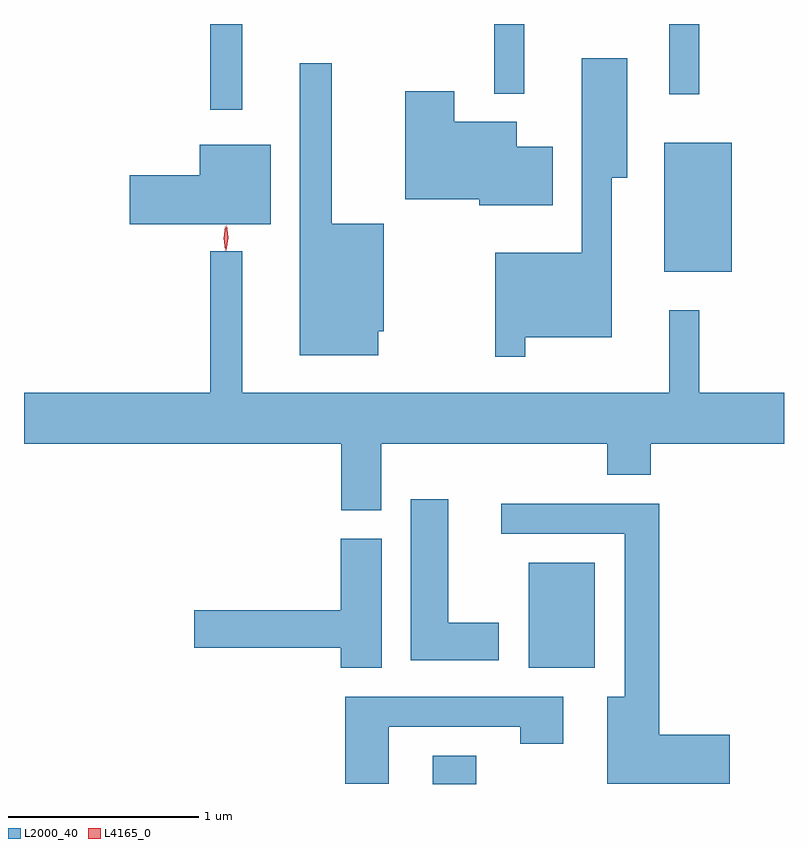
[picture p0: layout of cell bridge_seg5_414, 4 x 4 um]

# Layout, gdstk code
import gdstk
lib = gdstk.Library(unit=1e-6, precision=1e-09)
def R(c, l, rs):  # rectangles x0, y0, x1, y1
    for r in rs: c.add(gdstk.rectangle(r[:2], r[2:], *l))
def P(c, l, *ps):  # polygons
    for p in ps: c.add(gdstk.Polygon(p, *l))
L2000_40 = (2000, 40)
L4165_0 = (4165, 0)

bridge_seg5_414 = lib.new_cell('bridge_seg5_414')
R(bridge_seg5_414, L2000_40, [(207.271,1512.724,207.499,1512.874), (207.776,1513.336,208.124,1513.889), (208.491,1515.421,208.844,1516.099), (206.101,1516.273,206.269,1516.724), (208.516,1516.353,208.674,1516.724), (207.596,1516.358,207.754,1516.724)])
P(bridge_seg5_414, L2000_40, [(207.759,1515.076),(208.214,1515.076),(208.214,1515.916),(208.294,1515.916),(208.294,1516.544),(208.056,1516.544),(208.056,1515.519),(207.601,1515.519),(207.601,1514.973),(207.759,1514.973)],
  [(206.984,1515.106),(207.014,1515.106),(207.014,1515.674),(206.739,1515.674),(206.739,1516.518),(206.571,1516.518),(206.571,1514.981),(206.984,1514.981)],
  [(207.904,1516.079),(207.714,1516.079),(207.714,1516.209),(207.384,1516.209),(207.384,1516.369),(207.126,1516.369),(207.126,1515.801),(207.516,1515.801),(207.516,1515.771),(207.904,1515.771)],
  [(206.419,1516.089),(206.046,1516.089),(206.046,1515.929),(205.676,1515.929),(205.676,1515.671),(206.419,1515.671)],
  [(206.999,1514.516),(208.191,1514.516),(208.191,1514.351),(208.419,1514.351),(208.419,1514.516),(209.12,1514.516),(209.12,1514.784),(208.674,1514.784),(208.674,1515.218),(208.516,1515.218),(208.516,1514.784),(206.269,1514.784),(206.269,1515.528),(206.101,1515.528),(206.101,1514.784),(205.12,1514.784),(205.12,1514.516),(206.791,1514.516),(206.791,1514.166),(206.999,1514.166)],
  [(207.619,1513.574),(207.354,1513.574),(207.354,1514.224),(207.156,1514.224),(207.156,1513.376),(207.619,1513.376)],
  [(208.834,1512.984),(208.464,1512.984),(208.464,1514.199),(207.633,1514.199),(207.633,1514.041),(208.281,1514.041),(208.281,1513.184),(208.191,1513.184),(208.191,1512.726),(208.834,1512.726)],
  [(207.004,1514.014),(206.786,1514.014),(206.786,1513.639),(206.016,1513.639),(206.016,1513.441),(206.786,1513.441),(206.786,1513.336),(207.004,1513.336)],
  [(207.039,1513.026),(207.731,1513.026),(207.731,1512.936),(207.959,1512.936),(207.959,1513.184),(206.811,1513.184),(206.811,1512.726),(207.039,1512.726)])
P(bridge_seg5_414, L4165_0, [(206.179,1515.533),(206.17,1515.596),(206.179,1515.659),(206.179,1515.66),(206.18,1515.659),(206.19,1515.596),(206.18,1515.533),(206.18,1515.533)],
  [(206.184,1515.53),(206.176,1515.598),(206.186,1515.666),(206.187,1515.666),(206.187,1515.666),(206.196,1515.598),(206.185,1515.53),(206.185,1515.53)])

lib.write_gds('bridge_seg5_414.gds')
